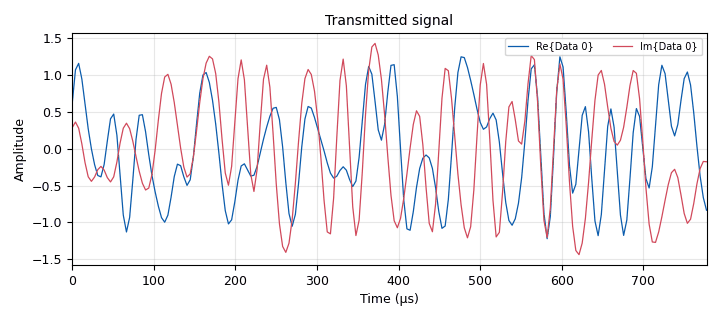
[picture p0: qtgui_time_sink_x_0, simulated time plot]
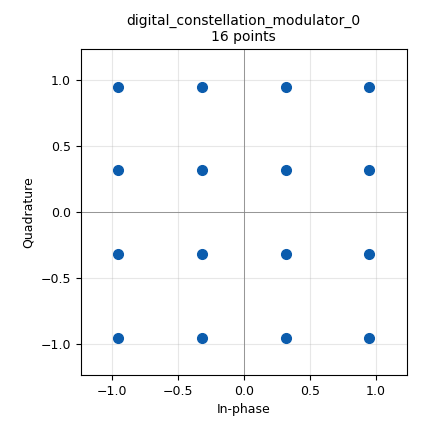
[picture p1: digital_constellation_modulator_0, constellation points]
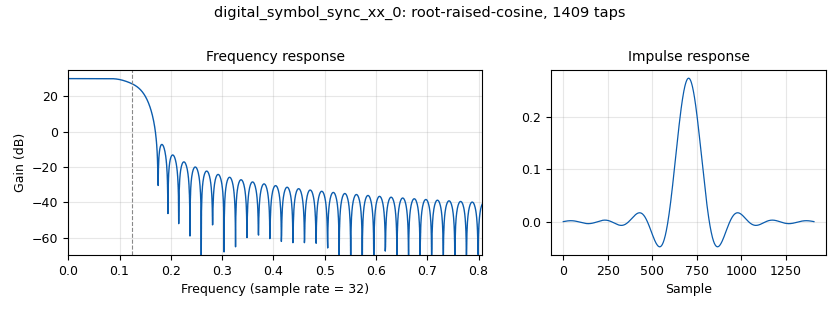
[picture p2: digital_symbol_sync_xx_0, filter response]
options:
  parameters:
    author: ash
    generate_options: qt_gui
    id: psk_mods
    output_language: python
    title: PSK Mods
  states: {}

blocks:
- name: bandwidth
  id: variable
  parameters:
    value: samp_rate/2
  states: {}
- name: constel
  id: variable_constellation
  parameters:
    precision: '8'
    type: 16qam
  states: {}
- name: equalizer_cma
  id: variable_adaptive_algorithm
  parameters:
    cons: constel
    modulus: sps
    step_size: '.0001'
    type: cma
  states: {}
- name: excess_bw
  id: variable
  parameters:
    value: '0.35'
  states: {}
- name: freq_delta
  id: variable_qtgui_range
  parameters:
    start: '0'
    step: '0.01'
    stop: '0.05'
    value: '0'
  states: {}
- name: nfilts
  id: variable
  parameters:
    value: '32'
  states: {}
- name: noise
  id: variable_qtgui_range
  parameters:
    start: '0'
    step: '0.1'
    stop: '1'
    value: '0'
  states: {}
- name: phase_bw
  id: variable
  parameters:
    value: '0.0628'
  states: {}
- name: rrc_taps
  id: variable
  parameters:
    value: firdes.root_raised_cosine(nfilts, nfilts, 1.0/float(sps), 0.35, 11*sps*nfilts)
  states: {}
- name: samp_rate
  id: variable
  parameters:
    value: '256000'
  states: {}
- name: sps
  id: variable
  parameters:
    value: '4'
  states: {}
- name: time_delta
  id: variable_qtgui_range
  parameters:
    start: '0.999'
    step: '0.0001'
    stop: '1.001'
    value: '1.0000'
  states: {}
- name: analog_random_source_x_0
  id: analog_random_source_x
  parameters:
    max: '256'
    min: '0'
    num_samps: '1000'
    repeat: 'True'
    type: byte
  states: {}
- name: channels_channel_model_0
  id: channels_channel_model
  parameters:
    epsilon: time_delta
    freq_offset: freq_delta
    noise_voltage: noise
    seed: '0'
    taps: '1.0'
  states: {}
- name: digital_constellation_modulator_0
  id: digital_constellation_modulator
  parameters:
    constellation: constel
    differential: 'True'
    excess_bw: excess_bw
    samples_per_symbol: sps
  states: {}
- name: digital_costas_loop_cc_0
  id: digital_costas_loop_cc
  parameters:
    order: '4'
    w: phase_bw
  states: {}
- name: digital_fll_band_edge_cc_0
  id: digital_fll_band_edge_cc
  parameters:
    filter_size: '32'
    rolloff: '.35'
    samps_per_sym: sps
    type: cc
    w: 2*math.pi/sps/100
  states: {}
- name: digital_linear_equalizer_0
  id: digital_linear_equalizer
  parameters:
    alg: equalizer_cma
    num_taps: '32'
    sps: '1'
  states: {state: disabled}
- name: digital_symbol_sync_xx_0
  id: digital_symbol_sync_xx
  parameters:
    constellation: digital.qam_constellation().base()
    damping: '1.0'
    loop_bw: phase_bw
    max_dev: '1.5'
    nfilters: nfilts
    osps: '1'
    pfb_mf_taps: rrc_taps
    resamp_type: digital.IR_PFB_MF
    sps: sps
    ted_gain: '1.0'
    ted_type: digital.TED_SIGNAL_TIMES_SLOPE_ML
    type: cc
  states: {}
- name: import_0
  id: import
  parameters:
    imports: import math
  states: {}
- name: qtgui_const_sink_x_0
  id: qtgui_const_sink_x
  parameters:
    autoscale: 'True'
    gui_hint: (0,1)
    size: '1024'
    type: complex
  states: {}
- name: qtgui_time_sink_x_0
  id: qtgui_time_sink_x
  parameters:
    autoscale: 'True'
    gui_hint: (0,0)
    name: '"Transmitted signal"'
    size: '200'
    srate: samp_rate
    type: complex
  states: {}
- name: uhd_usrp_sink_0
  id: uhd_usrp_sink
  parameters:
    ant0: '"TX/RX"'
    center_freq0: 917.347*10**6
    dev_addr: '"serial=32C1EDB"'
    gain0: '35'
    samp_rate: samp_rate
    sync: pc_clock_next_pps
    type: fc32
  states: {}
- name: uhd_usrp_source_0
  id: uhd_usrp_source
  parameters:
    ant0: '"TX/RX"'
    bw0: samp_rate
    center_freq0: 917.347*10**6
    dev_addr: '"serial=32C1EC6"'
    rx_agc0: Enabled
    samp_rate: samp_rate
    sync: pc_clock_next_pps
    type: fc32
  states: {}

connections:
- [analog_random_source_x_0, '0', digital_constellation_modulator_0, '0']
- [channels_channel_model_0, '0', qtgui_time_sink_x_0, '0']
- [channels_channel_model_0, '0', uhd_usrp_sink_0, '0']
- [digital_constellation_modulator_0, '0', channels_channel_model_0, '0']
- [digital_costas_loop_cc_0, '0', qtgui_const_sink_x_0, '0']
- [digital_fll_band_edge_cc_0, '0', digital_symbol_sync_xx_0, '0']
- [digital_linear_equalizer_0, '0', digital_costas_loop_cc_0, '0']
- [digital_symbol_sync_xx_0, '0', digital_costas_loop_cc_0, '0']
- [digital_symbol_sync_xx_0, '0', digital_linear_equalizer_0, '0']
- [uhd_usrp_source_0, '0', digital_fll_band_edge_cc_0, '0']

metadata:
  file_format: 1
  grc_version: 3.10.9.2
